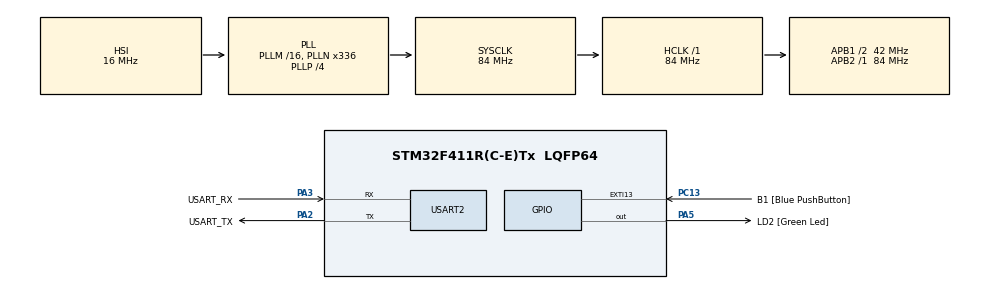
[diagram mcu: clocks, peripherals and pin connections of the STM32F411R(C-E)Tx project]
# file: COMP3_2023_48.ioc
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Dma.Request0=USART2_RX
Dma.Request1=USART2_TX
Dma.USART2_RX.0.Direction=DMA_PERIPH_TO_MEMORY
Dma.USART2_RX.0.FIFOMode=DMA_FIFOMODE_DISABLE
Dma.USART2_RX.0.Instance=DMA1_Stream5
Dma.USART2_RX.0.MemDataAlignment=DMA_MDATAALIGN_BYTE
Dma.USART2_RX.0.MemInc=DMA_MINC_ENABLE
Dma.USART2_RX.0.Mode=DMA_CIRCULAR
Dma.USART2_RX.0.PeriphDataAlignment=DMA_PDATAALIGN_BYTE
Dma.USART2_RX.0.PeriphInc=DMA_PINC_DISABLE
Dma.USART2_RX.0.Priority=DMA_PRIORITY_LOW
Dma.USART2_TX.1.Direction=DMA_MEMORY_TO_PERIPH
Dma.USART2_TX.1.FIFOMode=DMA_FIFOMODE_DISABLE
Dma.USART2_TX.1.Instance=DMA1_Stream6
Dma.USART2_TX.1.MemDataAlignment=DMA_MDATAALIGN_BYTE
Dma.USART2_TX.1.MemInc=DMA_MINC_ENABLE
Dma.USART2_TX.1.Mode=DMA_NORMAL
Dma.USART2_TX.1.PeriphDataAlignment=DMA_PDATAALIGN_BYTE
Dma.USART2_TX.1.PeriphInc=DMA_PINC_DISABLE
Dma.USART2_TX.1.Priority=DMA_PRIORITY_LOW
Mcu.Family=STM32F4
Mcu.Name=STM32F411R(C-E)Tx
Mcu.Package=LQFP64
NVIC.DMA1_Stream5_IRQn=true\:0\:0\:false\:false\:true\:false\:true\:true
NVIC.DMA1_Stream6_IRQn=true\:0\:0\:false\:false\:true\:false\:true\:true
NVIC.PriorityGroup=NVIC_PRIORITYGROUP_0
NVIC.USART2_IRQn=true\:0\:0\:false\:false\:true\:true\:true\:true
PA13.GPIO_Label=TMS
PA13.Mode=Serial_Wire
PA13.Signal=SYS_JTMS-SWDIO
PA14.GPIO_Label=TCK
PA14.Mode=Serial_Wire
PA14.Signal=SYS_JTCK-SWCLK
PA2.GPIO_Label=USART_TX
PA2.Mode=Asynchronous
PA2.Signal=USART2_TX
PA3.GPIO_Label=USART_RX
PA3.Mode=Asynchronous
PA3.Signal=USART2_RX
PA5.GPIO_Label=LD2 [Green Led]
PA5.Signal=GPIO_Output
PB3.GPIO_Label=SWO
PB3.Signal=SYS_JTDO-SWO
PC13-ANTI_TAMP.GPIO_Label=B1 [Blue PushButton]
PC13-ANTI_TAMP.GPIO_ModeDefaultEXTI=GPIO_MODE_IT_FALLING
PC13-ANTI_TAMP.Signal=GPXTI13
PC14-OSC32_IN.Mode=LSE-External-Oscillator
PC14-OSC32_IN.Signal=RCC_OSC32_IN
PC15-OSC32_OUT.Mode=LSE-External-Oscillator
PC15-OSC32_OUT.Signal=RCC_OSC32_OUT
PH0\ -\ OSC_IN.Mode=HSE-External-Clock-Source
PH0\ -\ OSC_IN.Signal=RCC_OSC_IN
PH1\ -\ OSC_OUT.Mode=HSE-External-Clock-Source
PH1\ -\ OSC_OUT.Signal=RCC_OSC_OUT
ProjectManager.HeapSize=0x200
ProjectManager.StackSize=0x400
ProjectManager.TargetToolchain=STM32CubeIDE
RCC.48MHZClocksFreq_Value=84000000
RCC.AHBFreq_Value=84000000
RCC.APB1CLKDivider=RCC_HCLK_DIV2
RCC.APB1Freq_Value=42000000
RCC.APB1TimFreq_Value=84000000
RCC.APB2Freq_Value=84000000
RCC.APB2TimFreq_Value=84000000
RCC.CortexFreq_Value=84000000
RCC.FLatency-AdvancedSettings=FLASH_LATENCY_2
RCC.HCLKFreq_Value=84000000
RCC.HSE_VALUE=8000000
RCC.HSI_VALUE=16000000
RCC.PLLN=336
RCC.PLLP=RCC_PLLP_DIV4
RCC.SYSCLKFreq_VALUE=84000000
RCC.SYSCLKSource=RCC_SYSCLKSOURCE_PLLCLK
RCC.VCOOutputFreq_Value=336000000
USART2.VirtualMode=VM_ASYNC
USART2.WordLength=WORDLENGTH_8B
board=NUCLEO-F411RE

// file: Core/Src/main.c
/* USER CODE BEGIN Header */
/**
  ******************************************************************************
  * @file           : main.c
  * @brief          : Main program body
  ******************************************************************************
  * @attention
  *
  * Copyright (c) 2023 STMicroelectronics.
  * All rights reserved.
  *
  * This software is licensed under terms that can be found in the LICENSE file
  * in the root directory of this software component.
  * If no LICENSE file comes with this software, it is provided AS-IS.
  *
  ******************************************************************************
  */
/* USER CODE END Header */
#include "main.h"

/* USER CODE BEGIN Includes */
#include "stdio.h"
#include "string.h"

/* USER CODE END Includes */

UART_HandleTypeDef huart2;
DMA_HandleTypeDef hdma_usart2_rx;
DMA_HandleTypeDef hdma_usart2_tx;

/* USER CODE BEGIN PV */
uint8_t RxBuffer[20];
uint8_t TxBuffer[40];
uint8_t state;
float fnum;
float snum;
float res;
float dgit;
uint8_t op[2];
uint8_t num;
/* USER CODE END PV */

void SystemClock_Config(void);
static void MX_GPIO_Init(void);
static void MX_DMA_Init(void);
static void MX_USART2_UART_Init(void);
/* USER CODE BEGIN PFP */
void UARTPollingMethod();
/* USER CODE END PFP */

int main(void)
{

  /* MCU Configuration--------------------------------------------------------*/

  /* Reset of all peripherals, Initializes the Flash interface and the Systick. */
  HAL_Init();

  /* Configure the system clock */
  SystemClock_Config();

  /* Initialize all configured peripherals */
  MX_GPIO_Init();
  MX_DMA_Init();
  MX_USART2_UART_Init();
  /* USER CODE BEGIN 2 */
  uint8_t text[] = "jello";
  HAL_UART_Transmit(&huart2, text, 11, 10);
  UARTInterruptConfig();
  /* USER CODE END 2 */

  /* Infinite loop */
  while (1)
  {

  }
}

void SystemClock_Config(void)
{
  RCC_OscInitTypeDef RCC_OscInitStruct = {0};
  RCC_ClkInitTypeDef RCC_ClkInitStruct = {0};

  /** Configure the main internal regulator output voltage
  */
  __HAL_RCC_PWR_CLK_ENABLE();
  __HAL_PWR_VOLTAGESCALING_CONFIG(PWR_REGULATOR_VOLTAGE_SCALE1);

  /** Initializes the RCC Oscillators according to the specified parameters
  * in the RCC_OscInitTypeDef structure.
  */
  RCC_OscInitStruct.OscillatorType = RCC_OSCILLATORTYPE_HSI;
  RCC_OscInitStruct.HSIState = RCC_HSI_ON;
  RCC_OscInitStruct.HSICalibrationValue = RCC_HSICALIBRATION_DEFAULT;
  RCC_OscInitStruct.PLL.PLLState = RCC_PLL_ON;
  RCC_OscInitStruct.PLL.PLLSource = RCC_PLLSOURCE_HSI;
  RCC_OscInitStruct.PLL.PLLM = 16;
  RCC_OscInitStruct.PLL.PLLN = 336;
  RCC_OscInitStruct.PLL.PLLP = RCC_PLLP_DIV4;
  RCC_OscInitStruct.PLL.PLLQ = 4;
  if (HAL_RCC_OscConfig(&RCC_OscInitStruct) != HAL_OK)
  {
    Error_Handler();
  }

  /** Initializes the CPU, AHB and APB buses clocks
  */
  RCC_ClkInitStruct.ClockType = RCC_CLOCKTYPE_HCLK|RCC_CLOCKTYPE_SYSCLK
                              |RCC_CLOCKTYPE_PCLK1|RCC_CLOCKTYPE_PCLK2;
  RCC_ClkInitStruct.SYSCLKSource = RCC_SYSCLKSOURCE_PLLCLK;
  RCC_ClkInitStruct.AHBCLKDivider = RCC_SYSCLK_DIV1;
  RCC_ClkInitStruct.APB1CLKDivider = RCC_HCLK_DIV2;
  RCC_ClkInitStruct.APB2CLKDivider = RCC_HCLK_DIV1;

  if (HAL_RCC_ClockConfig(&RCC_ClkInitStruct, FLASH_LATENCY_2) != HAL_OK)
  {
    Error_Handler();
  }
}

static void MX_USART2_UART_Init(void)
{

  huart2.Instance = USART2;
  huart2.Init.BaudRate = 115200;
  huart2.Init.WordLength = UART_WORDLENGTH_8B;
  huart2.Init.StopBits = UART_STOPBITS_1;
  huart2.Init.Parity = UART_PARITY_NONE;
  huart2.Init.Mode = UART_MODE_TX_RX;
  huart2.Init.HwFlowCtl = UART_HWCONTROL_NONE;
  huart2.Init.OverSampling = UART_OVERSAMPLING_16;
  if (HAL_UART_Init(&huart2) != HAL_OK)
  {
    Error_Handler();
  }

}

static void MX_DMA_Init(void)
{

  /* DMA controller clock enable */
  __HAL_RCC_DMA1_CLK_ENABLE();

  /* DMA interrupt init */
  /* DMA1_Stream5_IRQn interrupt configuration */
  HAL_NVIC_SetPriority(DMA1_Stream5_IRQn, 0, 0);
  HAL_NVIC_EnableIRQ(DMA1_Stream5_IRQn);
  /* DMA1_Stream6_IRQn interrupt configuration */
  HAL_NVIC_SetPriority(DMA1_Stream6_IRQn, 0, 0);
  HAL_NVIC_EnableIRQ(DMA1_Stream6_IRQn);

}

static void MX_GPIO_Init(void)
{
  GPIO_InitTypeDef GPIO_InitStruct = {0};

  /* GPIO Ports Clock Enable */
  __HAL_RCC_GPIOC_CLK_ENABLE();
  __HAL_RCC_GPIOH_CLK_ENABLE();
  __HAL_RCC_GPIOA_CLK_ENABLE();
  __HAL_RCC_GPIOB_CLK_ENABLE();

  /*Configure GPIO pin Output Level */
  HAL_GPIO_WritePin(LD2_GPIO_Port, LD2_Pin, GPIO_PIN_RESET);

  /*Configure GPIO pin : B1_Pin */
  GPIO_InitStruct.Pin = B1_Pin;
  GPIO_InitStruct.Mode = GPIO_MODE_IT_FALLING;
  GPIO_InitStruct.Pull = GPIO_NOPULL;
  HAL_GPIO_Init(B1_GPIO_Port, &GPIO_InitStruct);

  /*Configure GPIO pin : LD2_Pin */
  GPIO_InitStruct.Pin = LD2_Pin;
  GPIO_InitStruct.Mode = GPIO_MODE_OUTPUT_PP;
  GPIO_InitStruct.Pull = GPIO_NOPULL;
  GPIO_InitStruct.Speed = GPIO_SPEED_FREQ_LOW;
  HAL_GPIO_Init(LD2_GPIO_Port, &GPIO_InitStruct);

}

/* USER CODE BEGIN 4 */
void UARTInterruptConfig()
{
	HAL_UART_Receive_IT(&huart2, RxBuffer, 1);

}
void col(){//cant pull input in function

		  if(RxBuffer[0] == 43){op[0] = '+' ;}
		  else if (RxBuffer[0] == 45){op[0] = '-' ;}
		  else if (RxBuffer[0] == 42){op[0] = '*' ;}
		  else if (RxBuffer[0] == 47){op[0] = '/' ;}
		  else if (RxBuffer[0] == 49){dgit = 1 ;}
		  else if (RxBuffer[0] == 50){dgit = 2 ;}
		  else if (RxBuffer[0] == 51){dgit = 3 ;}
		  else if (RxBuffer[0] == 52){dgit = 4 ;}
		  else if (RxBuffer[0] == 53){dgit = 5 ;}
		  else if (RxBuffer[0] == 54){dgit = 6 ;}
		  else if (RxBuffer[0] == 55){dgit = 7 ;}
		  else if (RxBuffer[0] == 56){dgit = 8 ;}
		  else if (RxBuffer[0] == 57){dgit = 9 ;}

}
void oper(){
  	switch(op[0]){
  		case '+':
  			res = fnum + snum;
  			break;
  		case '-':
  			res = fnum - snum;
  			break;
  		case '*':
  			res = fnum * snum;
  			break;
  		case '/':
  			if (snum != 0){res = fnum / snum;}
  			else {res = 0;}
  			break;
  	}
  }
//void HAL_UART_RxCpltCallback(UART_HandleTypeDef*huart)//2
//{
//	if(huart == &huart2){
//		switch (state){
//			  case 0://should choose number
//					  if ( RxBuffer[0] != '+' && RxBuffer[0] != '-' && RxBuffer[0] != '*'&& RxBuffer[0] != '/' ){col() ;fnum = dgit ;state = 1;}
//					  else{state = 0;}
//					  break;
//
//			  case 1://should choose operator
//					  if ( RxBuffer[0] == '+' || RxBuffer[0] == '-' || RxBuffer[0] == '*'|| RxBuffer[0] == '/' ){col() ;state = 2;}
//					  else if (RxBuffer[0] != '+' && RxBuffer[0] != '-' && RxBuffer[0] != '*'&& RxBuffer[0] != '/'){col();fnum = dgit ;state = 1;}
//					  break;
//			  case 2://should choose number
//					  if ( RxBuffer[0] != '+' && RxBuffer[0] != '-' && RxBuffer[0] != '*'&& RxBuffer[0] != '/' ){col();snum = dgit ;state = 3;}
//					  else if ( RxBuffer[0] == '+' || RxBuffer[0] == '-' || RxBuffer[0] == '*'|| RxBuffer[0] == '/' ){col();state = 2;}
//					  break;
//			  case 3:
//				  	  if ( RxBuffer[0] == 13){oper();fnum = res;}
//				  	  break;
//		}
//  }
//		sprintf((char*)TxBuffer, "Received : %s\r\n", RxBuffer);
//		HAL_UART_Transmit_IT(&huart2, TxBuffer, strlen((char*)TxBuffer));
//		HAL_UART_Receive_IT(&huart2, RxBuffer, 1);
//}

void sap(UART_HandleTypeDef *huart)//1
{
	if (huart == &huart2){
		switch (state){
		case 0:
			num = RxBuffer[0] ;
			if (num == 49){state = 1;}
			else if (num == 50){state = 2;}
			sprintf((char*)TxBuffer, &num ,RxBuffer);
			HAL_UART_Transmit_IT(&huart2, TxBuffer, strlen((char*)TxBuffer));
			HAL_UART_Receive_IT(&huart2, RxBuffer, 1);
			break;
		case 1:
			if (num == 50){state = 2;}
			num = RxBuffer[0] ;
			RxBuffer[2] = '\0';
			num = RxBuffer[0] ;
			if(num!=50 && num!=49){
				if (num < 91 ){
					num = ((RxBuffer[0]- 65 + 3) % 26)+65;}
				else{
					num = ((RxBuffer[0]- 97 + 3) % 26)+97;}}
			sprintf((char*)TxBuffer, &num ,RxBuffer);
			HAL_UART_Transmit_IT(&huart2, TxBuffer, strlen((char*)TxBuffer));
			HAL_UART_Receive_IT(&huart2, RxBuffer, 1);
			break;
		case 2:
			if (num == 49){state = 1;}
			RxBuffer[2] = '\0';
			num = RxBuffer[0] ;
			if(num!=50 && num!=49){
				if (num < 91 ){
					num = ((RxBuffer[0]- 65 - 3 + 26) % 26)+65;}
				else{
					num = ((RxBuffer[0]- 97 - 3 + 26) % 26)+97;}}
			sprintf((char*)TxBuffer, &num ,RxBuffer);
			HAL_UART_Transmit_IT(&huart2, TxBuffer, strlen((char*)TxBuffer));
			HAL_UART_Receive_IT(&huart2, RxBuffer, 1);
			break;
		}
	}
}
/* USER CODE END 4 */

void Error_Handler(void)
{
  __disable_irq();
  while (1)
  {
  }
}
